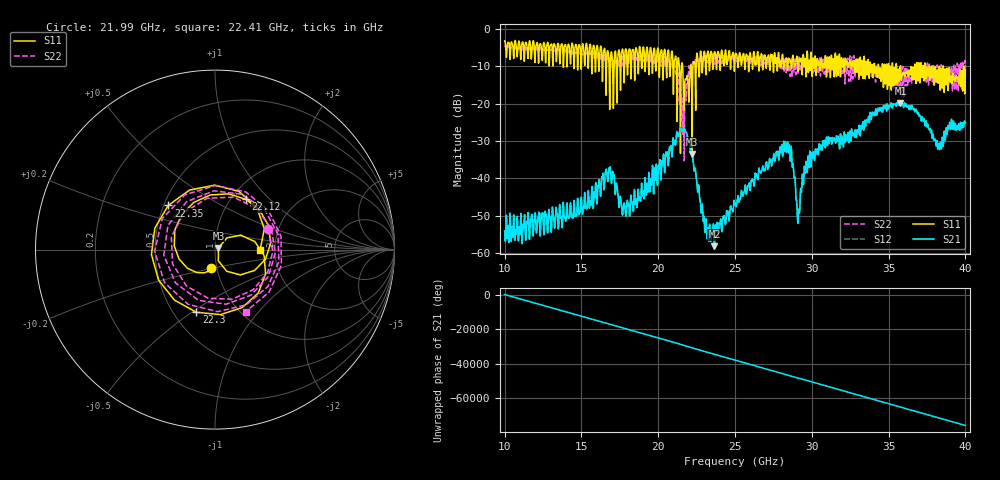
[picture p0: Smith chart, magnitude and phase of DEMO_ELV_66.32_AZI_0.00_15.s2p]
! 11/3/2026 12:53:34 PM
! C:\ANRITSUVNA\TEMP\TEMP.S2P
! CHANNEL.1
! TR.MEASUREMENT
! RAW.DATA
# HZ S RI R 50.0
! FREQ.HZ  S11RE  S11IM  S21RE  S21IM  S12RE  S12IM  S22RE  S22IM
!; PortSelection: Port_12
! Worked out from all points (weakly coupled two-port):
!   3001 points, 10 GHz to 40 GHz, reference 50 ohm
!   highest |S21| = -19.83 dB at 35.77 GHz (marker M1); lowest = -58.1 dB at 23.66 GHz (marker M2)
!   lowest |S11| = -33.5 dB at 22.21 GHz (marker M3), VSWR 1.04, Z = 51.9 + j0.978 ohm
!   |S11| at or under -10 dB: 35.76 GHz to 36.7 GHz (934.9 MHz wide, 2.58 % of centre); 37.64 GHz to 38.3 GHz (659.8 MHz wide, 1.74 % of centre); 38.56 GHz to end of sweep (the widest 3 of 114)
!   |S22| runs from -35.2 to -4.5 dB; largest |S21 - S12| = 0.12
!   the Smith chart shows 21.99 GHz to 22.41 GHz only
!   S11 on the Smith chart (normalised r, x): 21.99 GHz: 0.94, -0.19; 22.12 GHz: 1.17, +0.73; 22.3 GHz: 0.65, -0.52; 22.35 GHz: 0.53, +0.30; 22.41 GHz: 1.67, -0.02
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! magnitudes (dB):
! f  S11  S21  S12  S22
! 10 GHz  -3.2  -54.1  -53.9  -4.7
! 15 GHz  -10.0  -45.0  -45.1  -6.7
! 16.75 GHz  -6.4  -39.8  -39.9  -8.9
! 18.01 GHz  -12.0  -46.2  -46.2  -6.7
! 20 GHz  -5.5  -37.6  -37.7  -6.9
! 21.06 GHz  -8.3  -30.0  -30.0  -9.5
! 21.6 GHz  -10.8  -27.1  -26.9  -28.2
! 21.99 GHz  -19.6  -29.9  -29.9  -10.0
! 22.12 GHz  -9.7  -33.1  -33.1  -9.5
! 22.21 GHz  -33.5  -33.1  -33.2  -10.2
! 22.3 GHz  -8.8  -36.3  -36.3  -9.4
! 22.35 GHz  -8.9  -38.1  -38.2  -9.0
! 22.41 GHz  -12.0  -37.4  -37.2  -8.3
! 23.66 GHz  -6.2  -58.1  -57.2  -8.9
! 25 GHz  -7.6  -47.3  -47.2  -8.2
! 28.3 GHz  -8.3  -30.5  -30.3  -9.3
! 29.11 GHz  -11.1  -50.9  -50.8  -11.5
! 30 GHz  -10.5  -33.1  -33.1  -8.2
! 35 GHz  -9.5  -21.1  -21.0  -12.5
! 35.77 GHz  -10.3  -19.8  -19.7  -11.3
! 38.31 GHz  -10.3  -32.3  -32.1  -11.1
! 40 GHz  -10.8  -25.1  -25.1  -10.4
